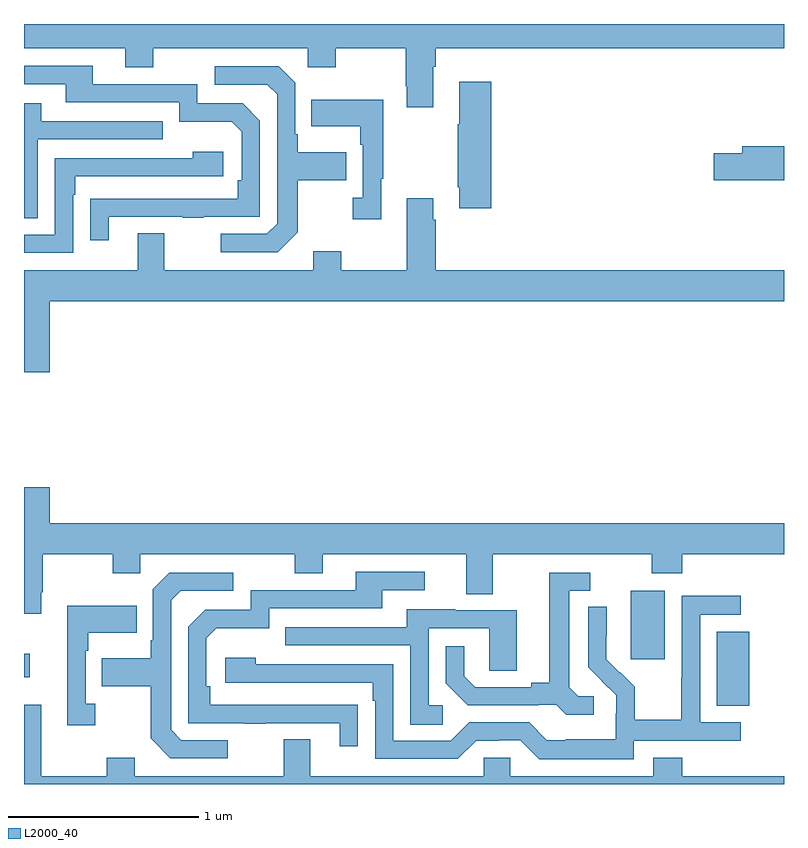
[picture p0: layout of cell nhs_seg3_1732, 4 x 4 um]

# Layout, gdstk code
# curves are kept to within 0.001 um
import gdstk
lib = gdstk.Library(unit=1e-6, precision=1e-09)
def R(c, l, rs):  # rectangles x0, y0, x1, y1
    for r in rs: c.add(gdstk.rectangle(r[:2], r[2:], *l))
def P(c, l, *ps):  # polygons
    for p in ps: c.add(gdstk.Polygon(p, *l))
L2000_40 = (2000, 40)

nhs_seg3_1732 = lib.new_cell('nhs_seg3_1732')
R(nhs_seg3_1732, L2000_40, [(204.647,674.813,204.818,675.202), (201,674.963,201.031,675.085), (204.194,675.057,204.373,675.418)])
P(nhs_seg3_1732, L2000_40, [(203.155,678.176),(203.168,678.176),(203.168,678.272),(205,678.272),(205,678.4),(201,678.4),(201,678.272),(201.533,678.272),(201.533,678.173),(201.681,678.173),(201.681,678.272),(202.494,678.272),(202.494,678.173),(202.641,678.173),(202.641,678.272),(203.008,678.272),(203.008,678.073),(203.015,678.073),(203.015,677.961),(203.155,677.961)],
  [(201.445,677.385),(201.835,677.385),(201.835,677.38),(201.947,677.38),(201.947,677.385),(202.242,677.385),(202.242,677.892),(202.152,677.982),(201.912,677.982),(201.912,678.084),(201.361,678.084),(201.361,678.18),(201,678.18),(201,678.084),(201.221,678.084),(201.221,677.988),(201.816,677.988),(201.816,677.885),(202.093,677.885),(202.146,677.832),(202.146,677.578),(202.126,677.578),(202.126,677.481),(201.349,677.48),(201.349,677.262),(201.445,677.262)],
  [(202.441,677.305),(202.441,677.578),(202.697,677.578),(202.697,677.725),(202.441,677.725),(202.441,677.821),(202.428,677.821),(202.428,678.09),(202.341,678.177),(202.005,678.177),(202.005,678.081),(202.281,678.081),(202.332,678.03),(202.332,677.349),(202.278,677.295),(202.035,677.295),(202.035,677.199),(202.335,677.199)],
  [(203.459,678.097),(203.291,678.097),(203.291,677.873),(203.284,677.873),(203.284,677.542),(203.291,677.542),(203.291,677.43),(203.459,677.43)],
  [(202.879,677.585),(202.891,677.585),(202.891,678.001),(202.513,678.001),(202.513,677.861),(202.77,677.861),(202.77,677.765),(202.782,677.765),(202.782,677.486),(202.731,677.486),(202.731,677.373),(202.879,677.373)],
  [(201.072,677.793),(201.731,677.793),(201.731,677.889),(201.091,677.889),(201.091,677.983),(201,677.983),(201,677.377),(201.072,677.377)],
  [(205,677.756),(204.779,677.756),(204.779,677.72),(204.63,677.72),(204.63,677.578),(205,677.578)],
  [(201.258,677.501),(201.271,677.501),(201.271,677.598),(202.048,677.598),(202.048,677.728),(201.887,677.728),(201.887,677.694),(201.162,677.694),(201.162,677.292),(201,677.292),(201,677.196),(201.258,677.196)],
  [(201,676.566),(201.136,676.566),(201.136,676.94),(205,676.94),(205,677.104),(203.168,677.104),(203.168,677.369),(203.155,677.369),(203.155,677.482),(203.015,677.482),(203.015,677.104),(202.671,677.104),(202.671,677.203),(202.523,677.203),(202.523,677.104),(201.739,677.104),(201.739,677.299),(201.599,677.299),(201.599,677.104),(201,677.104)],
  [(201.091,675.409),(201.099,675.409),(201.099,675.608),(201.466,675.608),(201.466,675.509),(201.612,675.509),(201.612,675.608),(202.426,675.608),(202.426,675.509),(202.573,675.509),(202.573,675.608),(203.327,675.608),(203.327,675.4),(203.467,675.4),(203.467,675.608),(204.304,675.608),(204.304,675.509),(204.464,675.509),(204.464,675.608),(205,675.608),(205,675.772),(201.136,675.772),(201.136,675.961),(201,675.961),(201,675.297),(201.091,675.297)],
  [(202.757,674.816),(201.98,674.817),(201.98,674.914),(201.96,674.914),(201.96,675.168),(202.013,675.221),(202.29,675.221),(202.29,675.324),(202.885,675.324),(202.885,675.42),(203.11,675.42),(203.11,675.516),(202.745,675.516),(202.745,675.42),(202.194,675.42),(202.194,675.318),(201.954,675.318),(201.864,675.228),(201.864,674.721),(202.159,674.721),(202.159,674.716),(202.271,674.716),(202.271,674.721),(202.661,674.721),(202.661,674.598),(202.757,674.598)],
  [(202.072,674.631),(201.828,674.631),(201.774,674.685),(201.774,675.366),(201.825,675.417),(202.102,675.417),(202.102,675.513),(201.765,675.513),(201.678,675.426),(201.678,675.157),(201.666,675.157),(201.666,675.061),(201.409,675.061),(201.409,674.914),(201.666,674.914),(201.666,674.641),(201.771,674.535),(202.072,674.535)],
  [(203.998,674.862),(203.916,674.862),(203.869,674.909),(203.869,675.417),(203.98,675.417),(203.98,675.513),(203.765,675.513),(203.765,674.933),(203.669,674.933),(203.669,674.91),(203.374,674.91),(203.317,674.967),(203.317,675.124),(203.22,675.124),(203.22,674.93),(203.336,674.814),(203.708,674.814),(203.708,674.817),(203.802,674.817),(203.854,674.765),(203.998,674.765)],
  [(204.21,674.628),(204.772,674.628),(204.772,674.724),(204.558,674.724),(204.558,675.291),(204.772,675.291),(204.772,675.39),(204.462,675.39),(204.462,674.96),(204.46,674.96),(204.46,674.737),(204.215,674.737),(204.215,674.911),(204.138,674.988),(204.135,674.985),(204.065,675.056),(204.066,675.332),(203.97,675.332),(203.97,675.014),(204.116,674.866),(204.116,674.769),(204.114,674.769),(204.114,674.635),(203.851,674.635),(203.851,674.631),(203.751,674.631),(203.658,674.724),(203.343,674.724),(203.247,674.628),(202.944,674.628),(202.944,675.03),(202.22,675.03),(202.22,675.064),(202.059,675.064),(202.059,674.934),(202.835,674.934),(202.835,674.837),(202.848,674.837),(202.848,674.532),(203.283,674.532),(203.379,674.628),(203.498,674.628),(203.498,674.631),(203.613,674.631),(203.713,674.531),(204.21,674.531)],
  [(201.376,674.822),(201.324,674.822),(201.324,675.101),(201.337,675.101),(201.337,675.197),(201.593,675.197),(201.593,675.337),(201.227,675.337),(201.227,674.709),(201.376,674.709)],
  [(203.203,674.814),(203.13,674.814),(203.13,675.219),(203.448,675.219),(203.448,674.995),(203.593,674.995),(203.593,675.315),(203.269,675.315),(203.269,675.319),(203.015,675.319),(203.015,675.225),(202.375,675.225),(202.375,675.129),(203.034,675.129),(203.034,674.713),(203.203,674.713)],
  [(205,674.44),(204.464,674.44),(204.464,674.539),(204.311,674.539),(204.311,674.44),(203.559,674.44),(203.559,674.538),(203.421,674.538),(203.421,674.44),(202.507,674.44),(202.507,674.635),(202.367,674.635),(202.367,674.44),(201.583,674.44),(201.583,674.539),(201.436,674.539),(201.436,674.44),(201.091,674.44),(201.091,674.818),(201,674.818),(201,674.4),(205,674.4)])

lib.write_gds('nhs_seg3_1732.gds')
